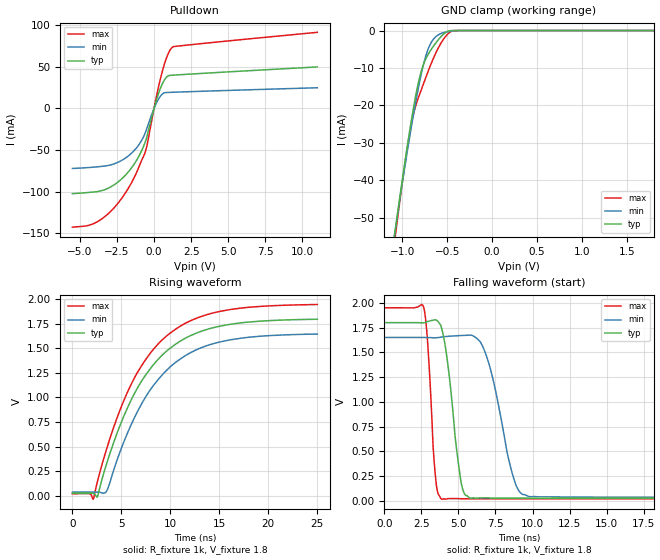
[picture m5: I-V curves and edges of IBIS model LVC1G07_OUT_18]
| [Disclaimer]
| This product is protected under copyright law.
| Created  2002, (C) Copyright  2002, Texas Instruments
| Incorporated, All Rights Reserved
| UNLESS THERE IS A SIGNED, WRITTEN AGREEMENT TO THE
| CONTRARY, TEXAS INSTRUMENTS (TI) IS PROVIDING THE IBIS
| MODELS  AND WITHOUT ANY WARRANTY, EXPRESSED OR
| IMPLIED.  TI assumes no liability for:
| 1) the accuracy of the IBIS models provided to your
| company;
| 2) the proper functioning of these IBIS Models in your
| design or for any resulting applications; or
| 3) infringement of patents, copyrights or intellectual
| property rights resulting from your use of these IBIS
| models.
| [Copyright]
| (C) Copyright 2014 Texas Instruments Incorporated.All rights reserved.
| From sn74lvc1g07.ibs, Texas Instruments, Inc.
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[Model]   LVC1G07_OUT_18
Model_type  Open_drain
Enable   Active-Low
Vref =   0
Rref =   1000
Cref =   30p
Vmeas =   0.9
| variable   typ   min   max
C_comp   3.53pF   2.62pF   5.10pF
| C_pulldown   8.14pF   4.54pF   12.78pF
| C_tri-state   3.53pF   2.62pF   5.10pF
[Temperature Range]   40   100   -40
| Ambient temperature   25   85   -40
[Voltage range]   1.8   1.65   1.95
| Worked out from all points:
|   slope of the pulldown table from 0 to 0.27 V, typ, clamps not added: 16.6 ohm
|   GND clamp passes 1 mA (typ) near -0.54 V on its own axis
|   rising waveform, R_fixture 1k, V_fixture 1.8: 20-80 % time 5.61ns typ, 5.58ns min, 5.63ns max; typ from 0.027 V to 1.79 V
|   falling waveform, R_fixture 1k, V_fixture 1.8: 20-80 % time 769ps typ, 1.32ns min, 421ps max; typ from 1.8 V to 0.027 V
[GND Clamp]
| LVC1G07_OUT_18
|   Voltage   I(typ)   I(min)   I(max)
-5.5V     -945.7mA   -886mA     -1.02A
-1.095V   -56.19mA   -55.94mA   -58.19mA
-1.065V   -50.97mA   -51.08mA   -52.51mA
-920mV    -27.18mA   -28.74mA   -27.7mA
-875mV    -20.66mA   -22.38mA   -22.28mA
-820mV    -13.87mA   -15.23mA   -17.9mA
-770mV    -9.464mA   -9.667mA   -14.63mA
-720mV    -6.717mA   -5.462mA   -11.4mA
-620mV    -3.107mA   -1.527mA   -5.656mA
-515mV    -495.3uA   -426.7uA   -1.484mA
-425mV    -5.264uA   -89.29uA   -16.05uA
1.8V      20.21pA    264.6pA    784.5pA
[Pulldown]
| LVC1G07_OUT_18
|   Voltage   I(typ)   I(min)   I(max)
-5.5V     -102.4mA   -72.09mA   -142.6mA
-4.355V   -100.9mA   -70.93mA   -140.2mA
-3.445V   -98.38mA   -69.44mA   -131.8mA
-2.465V   -88.93mA   -64.96mA   -114.7mA
-1.565V   -72.55mA   -54.53mA   -90.74mA
-985mV    -56.22mA   -42.66mA   -68.76mA
-570mV    -39.08mA   -28.24mA   -51mA
45mV      2.942mA    1.948mA    4.098mA
460mV     25.55mA    15.44mA    37.8mA
870mV     38.16mA    19.22mA    62.21mA
1.235V    39.96mA    19.46mA    73.59mA
11V       49.92mA    24.91mA    91.52mA
[Ramp]
| LVC1G07_OUT_18
| variable   typ   min   max
dV/dt_r   1.09/5.63E-09   0.97/5.60E-09   1.19/5.65E-09
dV/dt_f   1.08/8.30E-10   0.98/1.39E-09   1.18/4.51E-10
R_load = 1k
[Rising Waveform]
| LVC1G07_OUT_18
R_fixture =   1k
C_fixture =   0
L_fixture =   0
V_fixture =   1.8
V_fixture_min = 1.65
V_fixture_max = 1.95
|   Time   V(typ)   V(min)   V(max)
0s        26.95mV    37.1mV     21.07mV
2.135ns   23.01mV    37.18mV    -36.3mV
2.555ns   -8.156mV   37.59mV    143.9mV
3.415ns   300.9mV    35.67mV    450.1mV
4.91ns    726.6mV    460mV      884.6mV
6.435ns   1.058V     815.2mV    1.218V
8.035ns   1.303V     1.09V      1.46V
9.97ns    1.5V       1.309V     1.653V
15.27ns   1.728V     1.569V     1.879V
24.99ns   1.795V     1.644V     1.945V
[Falling Waveform]
| LVC1G07_OUT_18
R_fixture =   1k
C_fixture =   0
L_fixture =   0
V_fixture =   1.8
V_fixture_min = 1.65
V_fixture_max = 1.95
|   Time   V(typ)   V(min)   V(max)
0s        1.8V       1.65V      1.95V
2.66ns    1.797V     1.65V      1.951V
2.925ns   1.811V     1.649V     1.592V
3.435ns   1.828V     1.647V     269mV
3.865ns   1.743V     1.654V     17.28mV
5.175ns   189.6mV    1.67V      22.08mV
5.745ns   31.21mV    1.673V     21.26mV
6.93ns    29.83mV    1.446V     21.01mV
9.295ns   27.21mV    68.37mV    21.07mV
24.99ns   26.95mV    37.11mV    21.07mV
